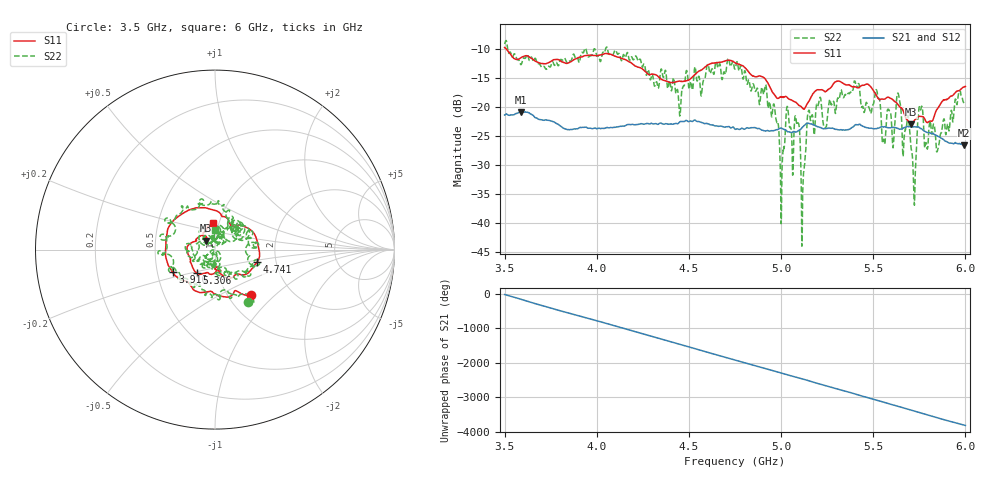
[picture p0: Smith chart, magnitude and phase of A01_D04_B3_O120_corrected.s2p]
! Created with skrf 1.9.0 (http://scikit-rf.org).
# Hz S RI R 50.0
!freq ReS11 ImS11 ReS21 ImS21 ReS12 ImS12 ReS22 ImS22
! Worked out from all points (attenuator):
!   1601 points, 3.5 GHz to 6 GHz, reference 50 ohm
!   highest |S21| = -20.89 dB at 3.591 GHz (marker M1); lowest = -26.7 dB at 5.994 GHz (marker M2)
!   lowest |S11| = -23.1 dB at 5.706 GHz (marker M3), VSWR 1.15, Z = 45.1 + j4.59 ohm
!   |S11| at or under -10 dB: 3.507 GHz to end of sweep
!   |S22| runs from -44.0 to -8.6 dB; largest |S21 - S12| = 0.0013
!   S11 on the Smith chart (normalised r, x): 3.5 GHz: 1.26, -0.72; 3.916 GHz: 0.60, -0.16; 4.741 GHz: 1.59, -0.24; 5.306 GHz: 0.79, -0.21; 6 GHz: 0.94, +0.29
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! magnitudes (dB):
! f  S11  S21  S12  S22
! 3.5 GHz  -9.8  -21.4  -21.4  -9.2
! 3.591 GHz  -11.5  -20.9  -20.9  -12.7
! 3.916 GHz  -11.5  -23.6  -23.5  -10.9
! 3.917 GHz  -11.5  -23.6  -23.5  -10.7
! 4.334 GHz  -14.9  -23.0  -22.9  -16.8
! 4.741 GHz  -12.3  -23.5  -23.5  -12.2
! 4.75 GHz  -12.5  -23.9  -23.8  -13.5
! 4.911 GHz  -15.1  -24.2  -24.1  -16.9
! 5.005 GHz  -18.3  -23.7  -23.7  -31.3
! 5.033 GHz  -18.4  -24.3  -24.2  -20.0
! 5.086 GHz  -19.4  -24.3  -24.3  -23.1
! 5.119 GHz  -20.3  -23.5  -23.3  -33.3
! 5.167 GHz  -18.1  -23.0  -23.0  -21.5
! 5.306 GHz  -15.6  -24.0  -23.8  -18.6
! 5.584 GHz  -18.4  -23.6  -23.6  -20.5
! 5.638 GHz  -19.8  -23.8  -23.7  -18.0
! 5.706 GHz  -23.1  -23.5  -23.4  -27.4
! 5.725 GHz  -22.3  -23.4  -23.4  -35.5
! 5.756 GHz  -21.7  -23.7  -23.6  -20.6
! 5.852 GHz  -20.2  -25.1  -25.0  -27.2
! 5.994 GHz  -16.6  -26.7  -26.6  -19.4
! 6 GHz  -16.5  -26.7  -26.6  -19.4
